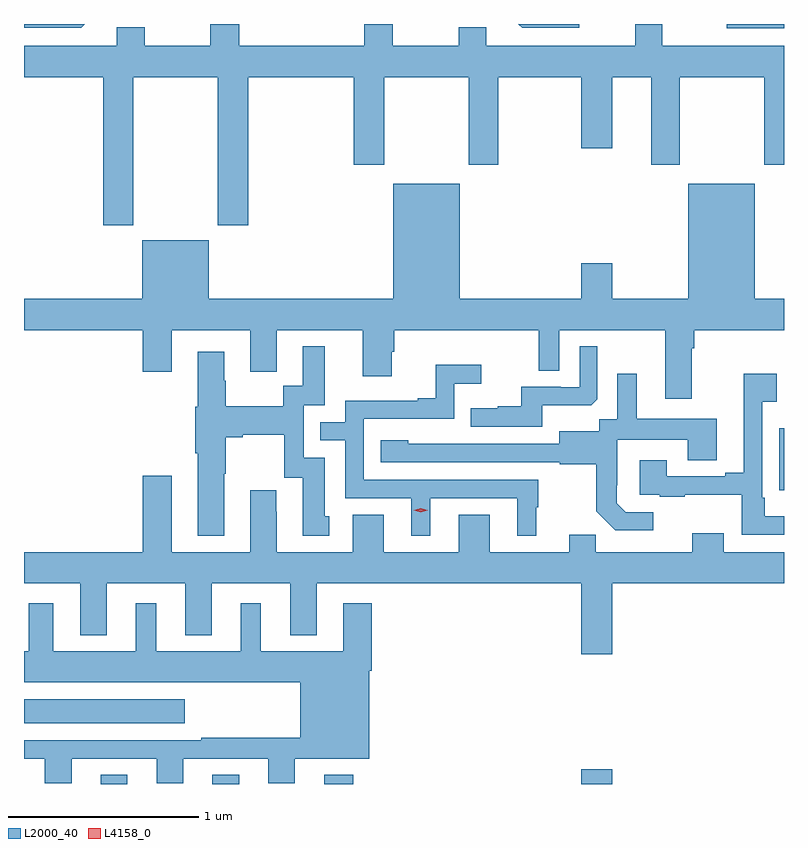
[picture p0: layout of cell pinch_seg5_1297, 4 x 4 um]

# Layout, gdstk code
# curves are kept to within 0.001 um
import gdstk
lib = gdstk.Library(unit=1e-6, precision=1e-09)
def R(c, l, rs):  # rectangles x0, y0, x1, y1
    for r in rs: c.add(gdstk.rectangle(r[:2], r[2:], *l))
def P(c, l, *ps):  # polygons
    for p in ps: c.add(gdstk.Polygon(p, *l))
L2000_40 = (2000, 40)
L4158_0 = (4158, 0)

pinch_seg5_1297 = lib.new_cell('pinch_seg5_1297')
R(pinch_seg5_1297, L2000_40, [(318.323,910.315,318.463,910.364), (318.911,910.315,319.051,910.364), (319.499,910.315,319.652,910.363), (320.852,910.315,321.016,910.393), (317.919,910.634,318.766,910.762), (321.894,911.861,321.919,912.187), (321.618,914.292,321.919,914.315)])
P(pinch_seg5_1297, L2000_40, [(318.239,914.315),(317.919,914.315),(317.919,914.295),(318.219,914.295)],
  [(320.842,914.315),(320.521,914.315),(320.541,914.295),(320.842,914.295)],
  [(318.495,914.036),(318.94,914.036),(318.94,913.257),(319.1,913.257),(319.1,914.036),(319.655,914.036),(319.655,913.575),(319.815,913.575),(319.815,914.036),(320.26,914.036),(320.26,913.575),(320.415,913.575),(320.415,914.036),(320.852,914.036),(320.852,913.662),(321.016,913.662),(321.016,914.036),(321.221,914.036),(321.221,913.575),(321.369,913.575),(321.369,914.036),(321.814,914.036),(321.814,913.575),(321.919,913.575),(321.919,914.2),(321.277,914.2),(321.277,914.315),(321.137,914.315),(321.137,914.2),(320.353,914.2),(320.353,914.299),(320.206,914.299),(320.206,914.2),(319.861,914.2),(319.861,914.315),(319.709,914.315),(319.709,914.2),(319.052,914.2),(319.052,914.315),(318.899,914.315),(318.899,914.2),(318.555,914.2),(318.555,914.299),(318.407,914.299),(318.407,914.2),(317.919,914.2),(317.919,914.036),(318.335,914.036),(318.335,913.257),(318.495,913.257)],
  [(321.433,912.608),(321.446,912.608),(321.446,912.704),(321.919,912.704),(321.919,912.868),(321.766,912.868),(321.766,913.474),(321.416,913.474),(321.416,912.868),(321.016,912.868),(321.016,913.057),(320.852,913.057),(320.852,912.868),(320.212,912.868),(320.212,913.474),(319.862,913.474),(319.862,912.868),(318.892,912.868),(318.892,913.177),(318.542,913.177),(318.542,912.868),(317.919,912.868),(317.919,912.704),(318.545,912.704),(318.545,912.486),(318.697,912.486),(318.697,912.704),(319.109,912.704),(319.109,912.486),(319.249,912.486),(319.249,912.704),(319.703,912.704),(319.703,912.462),(319.855,912.462),(319.855,912.591),(319.868,912.591),(319.868,912.704),(320.628,912.704),(320.628,912.49),(320.736,912.49),(320.736,912.704),(321.293,912.704),(321.293,912.342),(321.433,912.342)],
  [(318.973,911.947),(318.981,911.947),(318.981,912.14),(319.069,912.14),(319.069,912.152),(319.289,912.152),(319.289,911.928),(319.385,911.928),(319.385,911.622),(319.525,911.622),(319.525,911.724),(319.501,911.724),(319.501,912.033),(319.392,912.033),(319.392,912.309),(319.501,912.309),(319.501,912.619),(319.385,912.619),(319.385,912.41),(319.284,912.41),(319.284,912.304),(318.981,912.304),(318.981,912.438),(318.973,912.438),(318.973,912.589),(318.833,912.589),(318.833,912.3),(318.821,912.3),(318.821,912.056),(318.833,912.056),(318.833,911.621),(318.973,911.621)],
  [(320.647,912.308),(320.905,912.308),(320.937,912.339),(320.937,912.619),(320.844,912.619),(320.844,912.402),(320.744,912.402),(320.744,912.405),(320.537,912.405),(320.537,912.304),(320.413,912.304),(320.413,912.292),(320.269,912.292),(320.269,912.195),(320.647,912.195)],
  [(320.056,911.82),(320.516,911.82),(320.516,911.621),(320.614,911.621),(320.614,911.772),(320.626,911.772),(320.626,911.916),(319.707,911.916),(319.707,912.237),(320.184,912.237),(320.184,912.422),(320.326,912.422),(320.326,912.521),(320.086,912.521),(320.086,912.346),(319.991,912.346),(319.991,912.333),(319.611,912.333),(319.611,912.219),(319.477,912.219),(319.477,912.123),(319.611,912.123),(319.611,911.82),(319.958,911.82),(319.958,911.621),(320.056,911.621)],
  [(321.232,911.745),(321.087,911.745),(321.04,911.792),(321.04,911.887),(321.042,911.887),(321.042,912.128),(321.413,912.128),(321.413,912.019),(321.565,912.019),(321.565,912.238),(321.145,912.238),(321.145,912.475),(321.041,912.475),(321.041,912.236),(320.946,912.236),(320.946,912.172),(320.735,912.172),(320.735,912.105),(319.941,912.106),(319.941,912.124),(319.797,912.124),(319.797,912.009),(320.739,912.009),(320.739,911.997),(320.931,911.997),(320.931,911.751),(321.031,911.651),(321.232,911.651)],
  [(321.919,911.725),(321.817,911.725),(321.817,911.821),(321.804,911.821),(321.804,912.326),(321.88,912.326),(321.88,912.475),(321.707,912.475),(321.707,911.953),(321.611,911.953),(321.611,911.934),(321.301,911.934),(321.301,912.019),(321.161,912.019),(321.161,911.838),(321.265,911.838),(321.265,911.826),(321.397,911.826),(321.397,911.837),(321.696,911.837),(321.696,911.628),(321.919,911.628)],
  [(319.649,911.731),(319.649,911.536),(319.249,911.536),(319.249,911.747),(319.246,911.747),(319.246,911.86),(319.109,911.86),(319.109,911.536),(318.697,911.536),(318.697,911.938),(318.545,911.938),(318.545,911.536),(317.919,911.536),(317.919,911.372),(318.215,911.372),(318.215,911.099),(318.355,911.099),(318.355,911.372),(318.767,911.372),(318.767,911.099),(318.907,911.099),(318.907,911.372),(319.319,911.372),(319.319,911.099),(319.459,911.099),(319.459,911.372),(320.852,911.372),(320.852,910.998),(321.016,910.998),(321.016,911.372),(321.919,911.372),(321.919,911.536),(321.601,911.536),(321.601,911.635),(321.437,911.635),(321.437,911.536),(320.927,911.536),(320.927,911.627),(320.789,911.627),(320.789,911.536),(320.371,911.536),(320.371,911.731),(320.207,911.731),(320.207,911.536),(319.813,911.536),(319.813,911.731)],
  [(318.169,910.449),(318.617,910.449),(318.617,910.32),(318.757,910.32),(318.757,910.449),(319.205,910.449),(319.205,910.32),(319.345,910.32),(319.345,910.448),(319.735,910.448),(319.735,910.91),(319.748,910.91),(319.748,911.266),(319.598,911.266),(319.598,911.014),(319.165,911.014),(319.165,911.266),(319.061,911.266),(319.061,911.014),(318.616,911.014),(318.616,911.266),(318.506,911.266),(318.506,911.014),(318.073,911.014),(318.073,911.266),(317.945,911.266),(317.945,911.014),(317.919,911.014),(317.919,910.85),(319.373,910.85),(319.373,910.558),(318.853,910.558),(318.853,910.545),(317.919,910.545),(317.919,910.449),(318.029,910.449),(318.029,910.32),(318.169,910.32)])
P(pinch_seg5_1297, L4158_0, [(320.007,911.746),(319.971,911.756),(319.971,911.756),(319.971,911.757),(320.007,911.766),(320.043,911.757),(320.043,911.756),(320.043,911.756)])

lib.write_gds('pinch_seg5_1297.gds')
